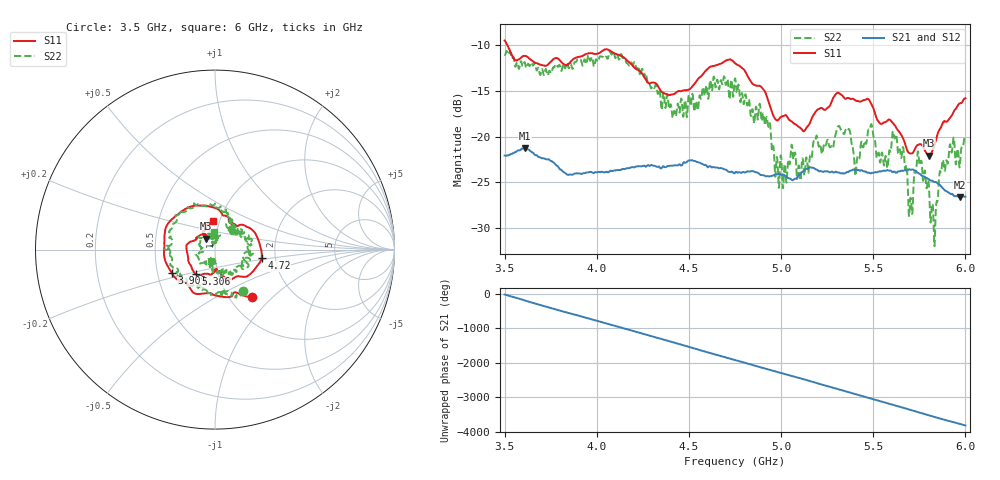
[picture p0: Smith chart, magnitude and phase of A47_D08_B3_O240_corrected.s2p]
! Created with skrf 1.9.0 (http://scikit-rf.org).
# Hz S RI R 50.0
!freq ReS11 ImS11 ReS21 ImS21 ReS12 ImS12 ReS22 ImS22
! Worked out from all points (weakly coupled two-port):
!   1601 points, 3.5 GHz to 6 GHz, reference 50 ohm
!   highest |S21| = -21.27 dB at 3.609 GHz (marker M1); lowest = -26.6 dB at 5.97 GHz (marker M2)
!   lowest |S11| = -22.1 dB at 5.803 GHz (marker M3), VSWR 1.17, Z = 45 + j5.59 ohm
!   |S11| at or under -10 dB: 3.515 GHz to end of sweep
!   |S22| runs from -32.0 to -10.6 dB; largest |S21 - S12| = 0.001
!   S11 on the Smith chart (normalised r, x): 3.5 GHz: 1.27, -0.76; 3.909 GHz: 0.60, -0.17; 4.72 GHz: 1.69, -0.17; 5.306 GHz: 0.78, -0.22; 6 GHz: 0.93, +0.31
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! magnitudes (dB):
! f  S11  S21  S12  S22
! 3.5 GHz  -9.5  -22.1  -22.0  -11.0
! 3.609 GHz  -11.2  -21.3  -21.3  -11.9
! 3.909 GHz  -11.3  -24.0  -24.0  -11.6
! 3.917 GHz  -11.2  -24.1  -24.1  -11.8
! 4.334 GHz  -14.6  -23.3  -23.2  -15.2
! 4.72 GHz  -11.6  -23.9  -23.9  -15.9
! 4.75 GHz  -12.0  -24.0  -23.9  -13.6
! 4.93 GHz  -16.0  -24.3  -24.3  -18.8
! 4.98 GHz  -18.2  -24.1  -24.1  -22.5
! 5.167 GHz  -18.0  -23.4  -23.4  -22.2
! 5.306 GHz  -15.2  -23.9  -23.9  -19.0
! 5.408 GHz  -16.1  -23.7  -23.6  -23.5
! 5.484 GHz  -16.2  -24.0  -24.0  -18.9
! 5.584 GHz  -18.1  -23.7  -23.7  -21.9
! 5.617 GHz  -18.8  -23.9  -23.8  -20.2
! 5.703 GHz  -21.8  -23.6  -23.6  -26.7
! 5.75 GHz  -20.8  -24.1  -24.0  -23.0
! 5.803 GHz  -22.1  -24.7  -24.7  -25.7
! 5.838 GHz  -20.6  -25.0  -24.9  -28.8
! 5.87 GHz  -18.9  -25.5  -25.5  -23.7
! 5.97 GHz  -16.4  -26.6  -26.6  -23.2
! 6 GHz  -15.8  -26.6  -26.5  -19.9
